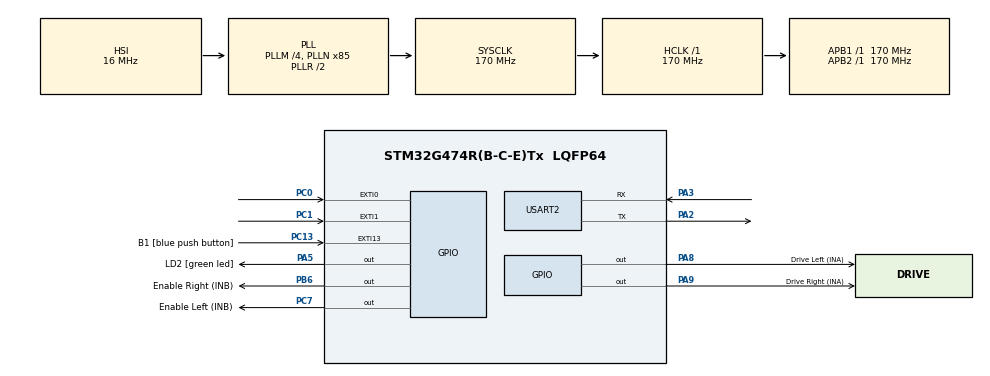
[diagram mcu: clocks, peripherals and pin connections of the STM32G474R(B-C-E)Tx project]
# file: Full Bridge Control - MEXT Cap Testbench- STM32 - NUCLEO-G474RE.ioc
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Mcu.Family=STM32G4
Mcu.Name=STM32G474R(B-C-E)Tx
Mcu.Package=LQFP64
NUCLEO-G474RE.VCP=false
NVIC.EXTI15_10_IRQn=true\:0\:0\:false\:false\:true\:true\:true\:true
NVIC.PriorityGroup=NVIC_PRIORITYGROUP_4
NVIC.TIM1_UP_TIM16_IRQn=true\:0\:0\:false\:false\:true\:true\:true\:true
NVIC.TIM2_IRQn=true\:0\:0\:false\:false\:true\:true\:true\:true
NVIC.USART2_IRQn=true\:0\:0\:false\:false\:true\:true\:true\:true
PA13.GPIO_Label=T_SWDIO
PA13.Signal=SYS_JTMS-SWDIO
PA14.GPIO_Label=T_SWCLK
PA14.Signal=SYS_JTCK-SWCLK
PA2.Mode=Asynchronous
PA2.Signal=USART2_TX
PA3.Mode=Asynchronous
PA3.Signal=USART2_RX
PA5.GPIO_Label=LD2 [green led]
PA5.Signal=GPIO_Output
PA8.GPIO_Label=Drive Left (INA)
PA8.Signal=GPIO_Output
PA9.GPIO_Label=Drive Right (INA)
PA9.Signal=GPIO_Output
PB3.GPIO_Label=T_SWO
PB3.Signal=SYS_JTDO-SWO
PB6.GPIO_Label=Enable Right (INB)
PB6.Signal=GPIO_Output
PC0.Signal=GPXTI0
PC1.Signal=GPXTI1
PC13.GPIO_Label=B1 [blue push button]
PC13.Signal=GPXTI13
PC14-OSC32_IN.GPIO_Label=RCC_OSC32_IN
PC14-OSC32_IN.Signal=RCC_OSC32_IN
PC15-OSC32_OUT.GPIO_Label=RCC_OSC32_OUT
PC15-OSC32_OUT.Signal=RCC_OSC32_OUT
PC7.GPIO_Label=Enable Left (INB)
PC7.Signal=GPIO_Output
PF0-OSC_IN.GPIO_Label=RCC_OSC_IN
PF0-OSC_IN.Signal=RCC_OSC_IN
PF1-OSC_OUT.GPIO_Label=RCC_OSC_OUT
PF1-OSC_OUT.Signal=RCC_OSC_OUT
ProjectManager.HeapSize=0x200
ProjectManager.StackSize=0x400
ProjectManager.TargetToolchain=STM32CubeIDE
RCC.ADC12Freq_Value=170000000
RCC.ADC345Freq_Value=170000000
RCC.AHBFreq_Value=170000000
RCC.APB1Freq_Value=170000000
RCC.APB1TimFreq_Value=170000000
RCC.APB2Freq_Value=170000000
RCC.APB2TimFreq_Value=170000000
RCC.CortexFreq_Value=170000000
RCC.EXTERNAL_CLOCK_VALUE=12288000
RCC.HCLKFreq_Value=170000000
RCC.HSE_VALUE=24000000
RCC.HSI48_VALUE=48000000
RCC.HSI_VALUE=16000000
RCC.LPUART1CLockSelection=RCC_LPUART1CLKSOURCE_SYSCLK
RCC.LSE_VALUE=32768
RCC.PLLM=RCC_PLLM_DIV4
RCC.PLLN=85
RCC.RTCClockSelection=RCC_RTCCLKSOURCE_LSE
RCC.SYSCLKFreq_VALUE=170000000
RCC.SYSCLKSource=RCC_SYSCLKSOURCE_PLLCLK
RCC.USBFreq_Value=170000000
RCC.VCOOutputFreq_Value=340000000
TIM1.PeriodNoDither=0
TIM1.Prescaler=1699
TIM2.Prescaler=16999
USART2.VirtualMode-Asynchronous=VM_ASYNC
VP_NUCLEO-G474RE_VS_BSP_COMMON.Mode=COMMON
VP_SYS_VS_DBSignals.Mode=DisableDeadBatterySignals
VP_TIM1_VS_ClockSourceINT.Mode=Internal
VP_TIM2_VS_ClockSourceINT.Mode=Internal
board=NUCLEO-G474RE

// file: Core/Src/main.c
/* USER CODE BEGIN Header */
/**
  ******************************************************************************
  * @file           : main.c
  * @brief          : Main program body
  ******************************************************************************
  * @attention
  *
  * Copyright (c) 2025 STMicroelectronics.
  * All rights reserved.
  *
  * This software is licensed under terms that can be found in the LICENSE file
  * in the root directory of this software component.
  * If no LICENSE file comes with this software, it is provided AS-IS.
  *
  ******************************************************************************
  */
/* USER CODE END Header */
#include "main.h"

/* USER CODE BEGIN Includes */
#include <string.h>
#include <stdlib.h>
#include <stdio.h>
#include <stdbool.h>
/* USER CODE END Includes */

/* USER CODE BEGIN PD */
#define RX_SZ 5
#define PREAMBLE 0xFF // START HEX für UART COM

#define PUTCHAR_PROTOTYPE int __io_putchar(int ch)

static uint8_t rx[RX_SZ]={0};
static uint8_t rx_buf[RX_SZ];

// CMD-Base
#define CMD_SET		 0x10
#define CMD_START	 0x20
#define CMD_STOP	 0x30
#define CMD_READBACK 0x40

// TIMER GRENZEN
#define T1_US_MIN   10u
#define T1_US_MAX   1000u
#define T2_MS_MIN   1u           // Protokoll in ms; Timer könnte 0.5 ms, siehe Kommentar
#define T2_MS_MAX   10000u       // 10 s

// Prescaler-Fakten über .ioc FEST konfiguriert (bei TIMCLK=170 MHz, APBx=1):
// TIM1: PSC=1699 -> Tick=10 µs
// TIM2: PSC=16999-> Tick=100 µs

uint8_t tim1_state_cnt = 0;
uint8_t tim2_pulse_cnt = 0;
uint8_t state = 0;

uint8_t pulse_count = 0;
uint8_t soll_pulse_count = 10;

uint8_t volatile command_rcv = 0;

// einfache Ablage der zuletzt gesetzten Werte
typedef struct { uint16_t value; uint8_t flags; } tcfg_t;
static volatile tcfg_t Tcfg[2] = {0};   // [0]=TIM1, [1]=TIM2

/* ====== STATE ====== */
typedef enum { ST_IDLE = 0, ST_RUN = 1 } run_state_t;
typedef enum { EXIT_NONE = 0, EXIT_SOFT, EXIT_HARD } exit_mode_t;

static volatile run_state_t g_state = ST_IDLE;
static volatile uint8_t     g_t1_cnt = 0;
static volatile exit_mode_t g_exit   = EXIT_NONE;

/* USER CODE END PD */

TIM_HandleTypeDef htim1;
TIM_HandleTypeDef htim2;

UART_HandleTypeDef huart2;

void SystemClock_Config(void);
static void MX_GPIO_Init(void);
static void MX_USART2_UART_Init(void);
static void MX_TIM1_Init(void);
static void MX_TIM2_Init(void);
/* USER CODE BEGIN PFP */

/* ====== GPIO SHORTCUTS (ersetze Ports/Pins durch deine Cube-Makros!) ====== */
static inline void Enable_Right(bool on){ HAL_GPIO_WritePin(GPIOB, GPIO_PIN_6, on?GPIO_PIN_SET:GPIO_PIN_RESET); }
static inline void Enable_Left (bool on){ HAL_GPIO_WritePin(GPIOC, GPIO_PIN_7, on?GPIO_PIN_SET:GPIO_PIN_RESET); }
static inline void Drive_Right (bool on){ HAL_GPIO_WritePin(GPIOA, GPIO_PIN_9, on?GPIO_PIN_SET:GPIO_PIN_RESET); }
static inline void Drive_Left  (bool on){ HAL_GPIO_WritePin(GPIOA, GPIO_PIN_8, on?GPIO_PIN_SET:GPIO_PIN_RESET); }

/* USER CODE END PFP */

/* USER CODE BEGIN 0 */

/*++++++++++++ Puls Form Helfer ++++++++++++ */
/* Aktionen für Puls 1/2 – hier nur Beispiel, setz was du brauchst */
static inline void positive_pulse_actions(void){
	// ----- Halbbrücke links High Side aktiv -----
	Drive_Left(true);
	Enable_Left(true);
	// ----- Halbbrücke rechts Low Side aktiv -----
	Drive_Right(false);
    Enable_Right(true);
}
static inline void negative_pulse_actions(void){
	// ----- Halbbrücke links High Side aktiv -----
	Drive_Left(false);
	Enable_Left(true);
	// ----- Halbbrücke rechts Low Side aktiv -----
	Drive_Right(true);
    Enable_Right(true);
}

static inline void all_off(void){
	// alle aus
    Enable_Right(false);
    Enable_Left(false);
    Drive_Right(false);
    Drive_Left(false);
}

static inline TIM_HandleTypeDef* tim_by_id(uint8_t timer)
{
	return (timer == 2) ? &htim2 : &htim1; // if timer == 2 return &htim2 else return &htim1
}

static void apply_set(uint8_t timer, uint16_t period_field, uint8_t flags)
{

	TIM_HandleTypeDef *ht =  tim_by_id(timer); // Timer Handle ermitteln

	HAL_TIM_Base_Stop(ht); // Timer stopppen für sichere konfiguration
	__HAL_TIM_CLEAR_FLAG(ht, TIM_FLAG_UPDATE); // (UIF=)Update Interrupt Flag - Bit löschen

	uint32_t ticks = 1;

	if (timer == 1){
        // --- FAST: period_field in µs ---
        uint32_t us = period_field;
        if (us < T1_US_MIN) us = T1_US_MIN;
        if (us > T1_US_MAX) us = T1_US_MAX;

        // Tick = 10 µs  -> ticks = us / 10  (runden auf nächste Ganzzahl)
        ticks = (us + 5u) / 10u;            // 10..100 -> 1..10..100
        if (ticks == 0) ticks = 1;          // Schutz

        Tcfg[timer-1].value = (uint16_t)us;   // READBACK in µs
	} else {
		 // --- SLOW: period_field in ms ---
		uint32_t ms = period_field;
		if (ms < T2_MS_MIN) ms = T2_MS_MIN;     // Protokoll: min 1 ms (Timer könnte 0.5 ms)
		if (ms > T2_MS_MAX) ms = T2_MS_MAX;

		// Tick = 100 µs -> 1 ms = 10 Ticks
		ticks = ms * 10u;                       // 1..10000 ms -> 10..100000 Ticks
		if (ticks < 5u) ticks = 5u;             // Timer-Kapazität: min 0.5 ms (ARR>=4), nur falls 0.5 ms noch gewünscht ist
		if (ticks > 100000u) ticks = 100000u;   // 10 s Grenze

		Tcfg[timer-1].value = (uint16_t)ms;    // READBACK in ms
	}

	__HAL_TIM_SET_AUTORELOAD(ht, (ticks - 1u)); // TImer zählt von 0 bis ARR = period - 1 (period-Anzahl an ticks)
    __HAL_TIM_SET_COUNTER(ht, 0u);

	Tcfg[timer-1].flags = flags;	// FLAGS (Soft / Hard-Exit)
}

static void do_start(uint8_t timer)
{
    TIM_HandleTypeDef *ht = tim_by_id(timer); 	// Timer-Handle ermitteln
    __HAL_TIM_SET_COUNTER(ht, 0);				// Counter auf 0 setzen
    __HAL_TIM_CLEAR_FLAG(ht, TIM_FLAG_UPDATE);	// UIF-Bit löschen
    HAL_TIM_Base_Start_IT(ht);					// Interrupt-Timer armen
}

static void do_stop(uint8_t timer)
{
    TIM_HandleTypeDef *ht = tim_by_id(timer);	// Timer-Handle ermitteln
    HAL_TIM_Base_Stop_IT(ht);					// Interrupt-Timer stoppen
    __HAL_TIM_CLEAR_FLAG(ht, TIM_FLAG_UPDATE);	// UIF-Bit löschen
}

static void send_readback(uint8_t timer)
{
    uint8_t tx[5];
    uint16_t p = Tcfg[timer-1].value;
    tx[0] = PREAMBLE;
    tx[1] = CMD_READBACK + (timer == 2 ? 1 : 0);  // 0x40/0x41
    tx[2] = (uint8_t)(p & 0xFF);                  // LSB
    tx[3] = (uint8_t)(p >> 8);                    // MSB
    tx[4] = Tcfg[timer-1].flags;
    HAL_UART_Transmit(&huart2, tx, sizeof tx, 100);	// TODO: hier über printf testen
    // HAL_UART_Transmit(&huart2, (uint8_t *)&ch, 1, 100); => hierdurch unten, geht UART_Transmit auch über printf, drüber testen
}

/* =============== API Funktionen =============== */
void seq_start(void)
{
    if (g_state != ST_IDLE) return;
    g_exit   = EXIT_NONE;
    g_t1_cnt = 0;

    __HAL_TIM_SET_COUNTER(&htim1, 0);
    __HAL_TIM_SET_COUNTER(&htim2, 0);
    __HAL_TIM_CLEAR_FLAG(&htim1, TIM_FLAG_UPDATE);
    __HAL_TIM_CLEAR_FLAG(&htim2, TIM_FLAG_UPDATE);

    HAL_TIM_Base_Start_IT(&htim1);   // "Fast" – triggert Puls 1 und Puls 2
    HAL_TIM_Base_Start_IT(&htim2);   // "Slow" – Zyklusende

    g_state = ST_RUN;
}

void seq_request_soft_stop(void) { g_exit = EXIT_SOFT; }   // stoppen nach Puls2 / Zyklusende
void seq_hard_stop(void)
{
    HAL_TIM_Base_Stop_IT(&htim1);
    HAL_TIM_Base_Stop_IT(&htim2);
    __HAL_TIM_CLEAR_FLAG(&htim1, TIM_FLAG_UPDATE);
    __HAL_TIM_CLEAR_FLAG(&htim2, TIM_FLAG_UPDATE);
    all_off();
    g_state = ST_IDLE;
    g_t1_cnt = 0;
    g_exit   = EXIT_NONE;
}

/* USER CODE END 0 */

int main(void)
{

  /* USER CODE BEGIN 1 */
  /* ----------- Helper Functions ----------- */

  /* USER CODE END 1 */

  /* MCU Configuration--------------------------------------------------------*/

  /* Reset of all peripherals, Initializes the Flash interface and the Systick. */
  HAL_Init();

  /* Configure the system clock */
  SystemClock_Config();

  /* Initialize all configured peripherals */
  MX_GPIO_Init();
  MX_USART2_UART_Init();
  MX_TIM1_Init();
  MX_TIM2_Init();

  /* Infinite loop */
  /* USER CODE BEGIN WHILE */

  // Diese Funktion empfängt über Interrupt UART Signale aus dem Python Skript
  HAL_UARTEx_ReceiveToIdle_IT(&huart2, rx, RX_SZ); // Prozessstart

while (1)
{
	if(command_rcv == 1){
		command_rcv = 0;

        const uint8_t  cmd   = rx_buf[1];
        const uint8_t  base  = cmd & 0xF0;            // 0x10/0x20/0x30/0x40
        const uint8_t  timer = (cmd & 0x01) ? 2 : 1;  // ungerade -> TIM2
        const uint16_t value = (uint16_t)rx_buf[2] | ((uint16_t)rx_buf[3] << 8); // LSB,MSB
        const uint8_t  flags  = rx_buf[4];

        switch (base) {
        case CMD_SET:      /* 0x10 / 0x11 */
        	// Setzt adressierten Timer:
        	//  - TIM1: interpretiert value als µs (10..1000, Tick=10µs)
			//  - TIM2: interpretiert value als ms  (1..10000, Tick=0.1ms)
			apply_set(timer, value, flags);
			printf("CMD: SET %s OK (period=%u)\r\n", (timer==1?"T1":"T2"), (unsigned)value);
			break;

		case CMD_START:    /* 0x20 / 0x21 */
			//alternativ für nur einen Timer => do_start(timer);
			// Anzahl Pulse setzen
			soll_pulse_count = value;
			// Start beider Timer + State Machine
			seq_start();
            printf("CMD: START (seq) OK\r\n");
            break;

		case CMD_STOP:     /* 0x30 / 0x31 */
            // Immer SOFT-STOP: am Zyklusende (TIM2-IRQ) in all_off() beenden
		  if (g_exit == EXIT_HARD) { seq_hard_stop(); return; }
            seq_request_soft_stop();
            printf("CMD: STOP (soft) requested\r\n");
            break;

		case CMD_READBACK: /* 0x40 / 0x41 */
            // READBACK spiegelt die gesetzten Einheiten zurück:
            //  - T1: µs
            //  - T2: ms
            send_readback(timer);
            printf("CMD: READBACK %s OK\r\n", (timer==1?"T1":"T2"));
            break;

		default:
			printf("Unknown CMD: 0x%02X\r\n", cmd);
			break;
		}

        printf("RX:");
        for (uint8_t i = 0; i < RX_SZ; ++i) printf(" %02X", rx_buf[i]);
        printf("\r\n");

	 // SET GPIO 1 - 4
	 // switch mit Mode Variable

	}
    /* USER CODE END WHILE */

  }
}

void SystemClock_Config(void)
{
  RCC_OscInitTypeDef RCC_OscInitStruct = {0};
  RCC_ClkInitTypeDef RCC_ClkInitStruct = {0};

  /** Configure the main internal regulator output voltage
  */
  HAL_PWREx_ControlVoltageScaling(PWR_REGULATOR_VOLTAGE_SCALE1_BOOST);

  /** Initializes the RCC Oscillators according to the specified parameters
  * in the RCC_OscInitTypeDef structure.
  */
  RCC_OscInitStruct.OscillatorType = RCC_OSCILLATORTYPE_HSI;
  RCC_OscInitStruct.HSIState = RCC_HSI_ON;
  RCC_OscInitStruct.HSICalibrationValue = RCC_HSICALIBRATION_DEFAULT;
  RCC_OscInitStruct.PLL.PLLState = RCC_PLL_ON;
  RCC_OscInitStruct.PLL.PLLSource = RCC_PLLSOURCE_HSI;
  RCC_OscInitStruct.PLL.PLLM = RCC_PLLM_DIV4;
  RCC_OscInitStruct.PLL.PLLN = 85;
  RCC_OscInitStruct.PLL.PLLP = RCC_PLLP_DIV2;
  RCC_OscInitStruct.PLL.PLLQ = RCC_PLLQ_DIV2;
  RCC_OscInitStruct.PLL.PLLR = RCC_PLLR_DIV2;
  if (HAL_RCC_OscConfig(&RCC_OscInitStruct) != HAL_OK)
  {
    Error_Handler();
  }

  /** Initializes the CPU, AHB and APB buses clocks
  */
  RCC_ClkInitStruct.ClockType = RCC_CLOCKTYPE_HCLK|RCC_CLOCKTYPE_SYSCLK
                              |RCC_CLOCKTYPE_PCLK1|RCC_CLOCKTYPE_PCLK2;
  RCC_ClkInitStruct.SYSCLKSource = RCC_SYSCLKSOURCE_PLLCLK;
  RCC_ClkInitStruct.AHBCLKDivider = RCC_SYSCLK_DIV1;
  RCC_ClkInitStruct.APB1CLKDivider = RCC_HCLK_DIV1;
  RCC_ClkInitStruct.APB2CLKDivider = RCC_HCLK_DIV1;

  if (HAL_RCC_ClockConfig(&RCC_ClkInitStruct, FLASH_LATENCY_4) != HAL_OK)
  {
    Error_Handler();
  }
}

static void MX_TIM1_Init(void)
{

  TIM_ClockConfigTypeDef sClockSourceConfig = {0};
  TIM_MasterConfigTypeDef sMasterConfig = {0};

  htim1.Instance = TIM1;
  htim1.Init.Prescaler = 1699;
  htim1.Init.CounterMode = TIM_COUNTERMODE_UP;
  htim1.Init.Period = 0;
  htim1.Init.ClockDivision = TIM_CLOCKDIVISION_DIV1;
  htim1.Init.RepetitionCounter = 0;
  htim1.Init.AutoReloadPreload = TIM_AUTORELOAD_PRELOAD_DISABLE;
  if (HAL_TIM_Base_Init(&htim1) != HAL_OK)
  {
    Error_Handler();
  }
  sClockSourceConfig.ClockSource = TIM_CLOCKSOURCE_INTERNAL;
  if (HAL_TIM_ConfigClockSource(&htim1, &sClockSourceConfig) != HAL_OK)
  {
    Error_Handler();
  }
  sMasterConfig.MasterOutputTrigger = TIM_TRGO_RESET;
  sMasterConfig.MasterOutputTrigger2 = TIM_TRGO2_RESET;
  sMasterConfig.MasterSlaveMode = TIM_MASTERSLAVEMODE_DISABLE;
  if (HAL_TIMEx_MasterConfigSynchronization(&htim1, &sMasterConfig) != HAL_OK)
  {
    Error_Handler();
  }

}

static void MX_TIM2_Init(void)
{

  TIM_ClockConfigTypeDef sClockSourceConfig = {0};
  TIM_MasterConfigTypeDef sMasterConfig = {0};

  htim2.Instance = TIM2;
  htim2.Init.Prescaler = 16999;
  htim2.Init.CounterMode = TIM_COUNTERMODE_UP;
  htim2.Init.Period = 4294967295;
  htim2.Init.ClockDivision = TIM_CLOCKDIVISION_DIV1;
  htim2.Init.AutoReloadPreload = TIM_AUTORELOAD_PRELOAD_DISABLE;
  if (HAL_TIM_Base_Init(&htim2) != HAL_OK)
  {
    Error_Handler();
  }
  sClockSourceConfig.ClockSource = TIM_CLOCKSOURCE_INTERNAL;
  if (HAL_TIM_ConfigClockSource(&htim2, &sClockSourceConfig) != HAL_OK)
  {
    Error_Handler();
  }
  sMasterConfig.MasterOutputTrigger = TIM_TRGO_RESET;
  sMasterConfig.MasterSlaveMode = TIM_MASTERSLAVEMODE_DISABLE;
  if (HAL_TIMEx_MasterConfigSynchronization(&htim2, &sMasterConfig) != HAL_OK)
  {
    Error_Handler();
  }

}

static void MX_USART2_UART_Init(void)
{

  huart2.Instance = USART2;
  huart2.Init.BaudRate = 115200;
  huart2.Init.WordLength = UART_WORDLENGTH_8B;
  huart2.Init.StopBits = UART_STOPBITS_1;
  huart2.Init.Parity = UART_PARITY_NONE;
  huart2.Init.Mode = UART_MODE_TX_RX;
  huart2.Init.HwFlowCtl = UART_HWCONTROL_NONE;
  huart2.Init.OverSampling = UART_OVERSAMPLING_16;
  huart2.Init.OneBitSampling = UART_ONE_BIT_SAMPLE_DISABLE;
  huart2.Init.ClockPrescaler = UART_PRESCALER_DIV1;
  huart2.AdvancedInit.AdvFeatureInit = UART_ADVFEATURE_NO_INIT;
  if (HAL_UART_Init(&huart2) != HAL_OK)
  {
    Error_Handler();
  }
  if (HAL_UARTEx_SetTxFifoThreshold(&huart2, UART_TXFIFO_THRESHOLD_1_8) != HAL_OK)
  {
    Error_Handler();
  }
  if (HAL_UARTEx_SetRxFifoThreshold(&huart2, UART_RXFIFO_THRESHOLD_1_8) != HAL_OK)
  {
    Error_Handler();
  }
  if (HAL_UARTEx_DisableFifoMode(&huart2) != HAL_OK)
  {
    Error_Handler();
  }

}

static void MX_GPIO_Init(void)
{
  GPIO_InitTypeDef GPIO_InitStruct = {0};

  /* GPIO Ports Clock Enable */
  __HAL_RCC_GPIOC_CLK_ENABLE();
  __HAL_RCC_GPIOF_CLK_ENABLE();
  __HAL_RCC_GPIOA_CLK_ENABLE();
  __HAL_RCC_GPIOB_CLK_ENABLE();

  /*Configure GPIO pin Output Level */
  HAL_GPIO_WritePin(GPIOA, LD2_Pin|Drive_Left_Pin|Drive_Right_Pin, GPIO_PIN_RESET);

  /*Configure GPIO pin Output Level */
  HAL_GPIO_WritePin(Enable_Left_GPIO_Port, Enable_Left_Pin, GPIO_PIN_RESET);

  /*Configure GPIO pin Output Level */
  HAL_GPIO_WritePin(Enable_Right_GPIO_Port, Enable_Right_Pin, GPIO_PIN_RESET);

  /*Configure GPIO pins : B1_Pin PC0 PC1 */
  GPIO_InitStruct.Pin = B1_Pin|GPIO_PIN_0|GPIO_PIN_1;
  GPIO_InitStruct.Mode = GPIO_MODE_IT_RISING;
  GPIO_InitStruct.Pull = GPIO_NOPULL;
  HAL_GPIO_Init(GPIOC, &GPIO_InitStruct);

  /*Configure GPIO pins : LD2_Pin Drive_Left_Pin Drive_Right_Pin */
  GPIO_InitStruct.Pin = LD2_Pin|Drive_Left_Pin|Drive_Right_Pin;
  GPIO_InitStruct.Mode = GPIO_MODE_OUTPUT_PP;
  GPIO_InitStruct.Pull = GPIO_NOPULL;
  GPIO_InitStruct.Speed = GPIO_SPEED_FREQ_LOW;
  HAL_GPIO_Init(GPIOA, &GPIO_InitStruct);

  /*Configure GPIO pin : Enable_Left_Pin */
  GPIO_InitStruct.Pin = Enable_Left_Pin;
  GPIO_InitStruct.Mode = GPIO_MODE_OUTPUT_PP;
  GPIO_InitStruct.Pull = GPIO_NOPULL;
  GPIO_InitStruct.Speed = GPIO_SPEED_FREQ_LOW;
  HAL_GPIO_Init(Enable_Left_GPIO_Port, &GPIO_InitStruct);

  /*Configure GPIO pin : Enable_Right_Pin */
  GPIO_InitStruct.Pin = Enable_Right_Pin;
  GPIO_InitStruct.Mode = GPIO_MODE_OUTPUT_PP;
  GPIO_InitStruct.Pull = GPIO_NOPULL;
  GPIO_InitStruct.Speed = GPIO_SPEED_FREQ_LOW;
  HAL_GPIO_Init(Enable_Right_GPIO_Port, &GPIO_InitStruct);

  /* EXTI interrupt init*/
  HAL_NVIC_SetPriority(EXTI15_10_IRQn, 0, 0);
  HAL_NVIC_EnableIRQ(EXTI15_10_IRQn);

}

/* USER CODE BEGIN 4 */

void HAL_UARTEx_RxEventCallback(UART_HandleTypeDef *huart, uint16_t Size){

	if(huart->Instance == USART2){
        if (Size == RX_SZ && rx[0] == PREAMBLE) {
    		memcpy(rx_buf, rx, Size); // Daten sichern
            command_rcv = 1;		  // Kommando erhalten Flag setzen
        }

		// 2) Optional: Quellpuffer leeren (hilft beim Debugging)
		// memset(rx, 0, RX_SZ);

	HAL_UARTEx_ReceiveToIdle_IT(&huart2, rx, RX_SZ); // immer wieder neu armen

	}
}

PUTCHAR_PROTOTYPE
{
  /* Place your implementation of fputc here */
  /* e.g. write a character to the USART2 and Loop until the end of transmission */
  HAL_UART_Transmit(&huart2, (uint8_t *)&ch, 1, 100);

  return ch;
}

// Callback
void HAL_TIM_PeriodElapsedCallback(TIM_HandleTypeDef *htim)
{
  /* ============== TIM1: schnelle Ereignisse im Zyklus ============== */
  if (htim->Instance == TIM1)
  {
	  if (g_state != ST_RUN) return; // damit das abfängt muss in Start-Sequenz g_state = ST_RUN gesetzt werden

	  switch (g_t1_cnt)
	  {
		  case 0:     // erstes fast-Event -> Positiver Puls 1
			  positive_pulse_actions();
			  g_t1_cnt = 1;
			  break;

		  case 1:     // zweites fast-Event -> Negativer Puls 2
			  negative_pulse_actions();
			  g_t1_cnt = 2;
			  break;

		  case 2:
			  // ab jetzt keine weiteren Fast-Events im laufenden Zyklus
			  all_off();
			  HAL_TIM_Base_Stop_IT(&htim1);
			  __HAL_TIM_CLEAR_FLAG(&htim1, TIM_FLAG_UPDATE);

		  default:
			  // ignorieren (TIM1 ist eigentlich schon gestoppt)
			  break;
	  }
  }

  /* ============== TIM2: Zyklusende ============== */
  else if (htim->Instance == TIM2)
  {
	  if (g_state != ST_RUN) return;

//	  if (soll_pulse_count != 0 && pulse_count >= soll_pulse_count-1){
//		  g_exit = EXIT_SOFT;
//	  }

	  // Softstop behandeln
	  if (g_exit == EXIT_SOFT) {
		  // nur an Zyklusende aussteigen
		  HAL_TIM_Base_Stop_IT(&htim2);
		  __HAL_TIM_CLEAR_FLAG(&htim2, TIM_FLAG_UPDATE);
		  g_state = ST_IDLE;
		  g_t1_cnt = 0;
		  g_exit = EXIT_NONE;
		  return;
	  }

	  // Weiterlaufen: neuen Zyklus vorbereiten
	  g_t1_cnt = 0;
	  pulse_count++;
	  __HAL_TIM_SET_COUNTER(&htim1, 0);
	  __HAL_TIM_CLEAR_FLAG(&htim1, TIM_FLAG_UPDATE);
	  HAL_TIM_Base_Start_IT(&htim1);   // nächste Puls-Folge im neuen Zyklus
  	  }

  }

/* USER CODE END 4 */

void Error_Handler(void)
{
  __disable_irq();
  while (1)
  {
  }
}
